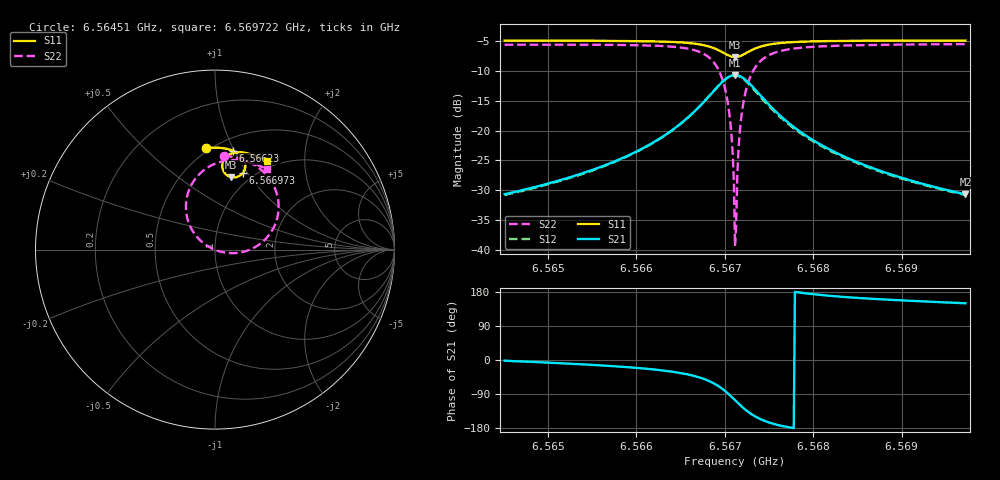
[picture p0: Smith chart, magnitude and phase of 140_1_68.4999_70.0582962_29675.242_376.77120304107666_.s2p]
#  HZ  S  RI  R  50.00
! Rohde & Schwarz Vector Network Analyzer
! Rohde-Schwarz,ZNB20-2Port,1311601062101988,3.16
! Created: UTC 3/20/2024, 5:09:58 PM
! freq[Hz]  re:S11  im:S11  re:S21  im:S21  re:S12  im:S12  re:S22  im:S22
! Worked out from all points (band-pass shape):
!   401 points, 6.56451 GHz to 6.569722 GHz, reference 50 ohm
!   highest |S21| = -10.68 dB at 6.567116 GHz (marker M1); lowest = -30.7 dB at 6.569722 GHz (marker M2)
!   |S21| within 3 dB of the highest: 6.566856 GHz to 6.567378 GHz (521.5 kHz wide, 0.00794 % of centre)
!   lowest |S11| = -7.7 dB at 6.567116 GHz (marker M3), VSWR 2.41, Z = 41.9 + j40.8 ohm
!   |S11| at or under -10 dB: nowhere
!   |S22| runs from -39.4 to -5.5 dB; largest |S21 - S12| = 0.014
!   S11 on the Smith chart (normalised r, x): 6.56451 GHz: 0.47, +0.79; 6.56623 GHz: 0.62, +0.99; 6.566973 GHz: 0.89, +0.95; 6.569722 GHz: 0.90, +1.32
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6.5645102e9  -0.0511 0.5668  0.0292 -0.000893  0.0287 -0.00142  0.0493 0.5234
6.5653832e9  0.021 0.5675  0.0427 -0.0086  0.042 -0.0092  0.1337 0.5085
6.5662301e9  0.1019 0.5508  0.0743 -0.0359  0.0733 -0.0368  0.2495 0.4509
6.5662561e9  0.1046 0.5497  0.0761 -0.0378  0.0749 -0.0387  0.2542 0.4471
6.5667512e9  0.1631 0.497  0.1116 -0.128  0.1092 -0.1307  0.3527 0.2716
6.5668815e9  0.1689 0.4602  0.1008 -0.1922  0.0959 -0.196  0.3383 0.1489
6.5669727e9  0.1559 0.4275  0.0612 -0.2485  0.0527 -0.2516  0.2662 0.0442
6.5670118e9  0.1431 0.4146  0.0311 -0.2695  0.0206 -0.2712  0.2103 0.00687
6.5670509e9  0.1255 0.4052  -0.00729 -0.2834  -0.0192 -0.2827  0.14 -0.0162
6.5670769e9  0.1122 0.4021  -0.0359 -0.2868  -0.0486 -0.2842  0.0881 -0.0199
6.567103e9  0.0979 0.402  -0.0655 -0.2846  -0.0783 -0.2795  0.0353 -0.0126
6.567116e9  0.0909 0.4032  -0.0803 -0.2812  -0.0926 -0.2752  0.00938 -0.00513
6.567129e9  0.0839 0.4052  -0.0945 -0.2764  -0.1065 -0.2693  -0.0153 0.00512
6.5671421e9  0.0772 0.4078  -0.1084 -0.2702  -0.1195 -0.2621  -0.0385 0.0178
6.5671681e9  0.0652 0.4152  -0.1331 -0.2543  -0.1429 -0.2443  -0.0799 0.0492
6.5671942e9  0.0554 0.4248  -0.1536 -0.2346  -0.1614 -0.2235  -0.113 0.0865
6.5672463e9  0.0434 0.4471  -0.1804 -0.1902  -0.1843 -0.1784  -0.1526 0.1679
6.5673114e9  0.041 0.4743  -0.1906 -0.1368  -0.1908 -0.1261  -0.1611 0.2623
6.567559e9  0.0794 0.5296  -0.146 -0.0284  -0.1428 -0.024  -0.0593 0.445
6.5679889e9  0.1424 0.5423  -0.0835 0.00903  -0.0814 0.0103  0.0805 0.4979
6.5688619e9  0.2254 0.5226  -0.0403 0.0154  -0.0395 0.0158  0.2112 0.4812
6.5697218e9  0.2897 0.4919  -0.0253 0.0147  -0.0246 0.0148  0.2886 0.4466
